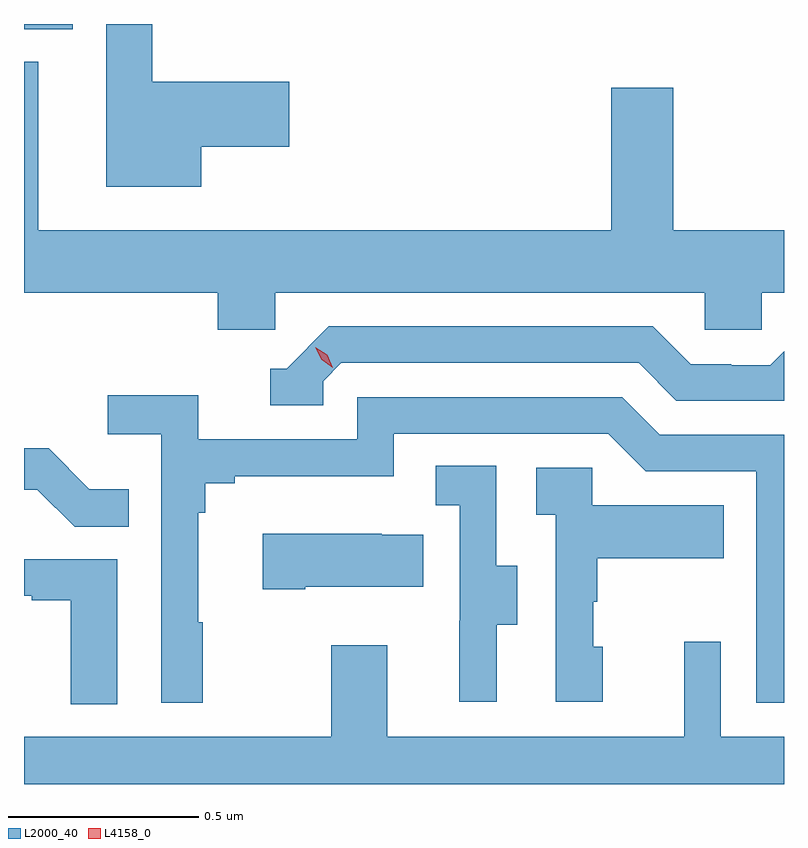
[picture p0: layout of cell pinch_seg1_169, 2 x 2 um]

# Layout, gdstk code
import gdstk
lib = gdstk.Library(unit=1e-6, precision=1e-09)
def R(c, l, rs):  # rectangles x0, y0, x1, y1
    for r in rs: c.add(gdstk.rectangle(r[:2], r[2:], *l))
def P(c, l, *ps):  # polygons
    for p in ps: c.add(gdstk.Polygon(p, *l))
L2000_40 = (2000, 40)
L4158_0 = (4158, 0)

pinch_seg1_169 = lib.new_cell('pinch_seg1_169')
R(pinch_seg1_169, L2000_40, [(1098.527,557.753,1098.655,557.767)])
P(pinch_seg1_169, L2000_40, [(1098.994,557.444),(1099.225,557.444),(1099.225,557.615),(1098.865,557.615),(1098.865,557.767),(1098.743,557.767),(1098.743,557.339),(1098.994,557.339)],
  [(1099.188,557.06),(1100.319,557.06),(1100.319,556.962),(1100.469,556.962),(1100.469,557.06),(1100.527,557.06),(1100.527,557.224),(1100.236,557.224),(1100.236,557.599),(1100.072,557.599),(1100.072,557.224),(1098.565,557.224),(1098.565,557.668),(1098.527,557.668),(1098.527,557.06),(1099.037,557.06),(1099.037,556.962),(1099.188,556.962)],
  [(1099.314,556.827),(1099.362,556.875),(1100.145,556.875),(1100.244,556.776),(1100.527,556.776),(1100.527,556.906),(1100.491,556.869),(1100.388,556.869),(1100.388,556.872),(1100.281,556.872),(1100.182,556.971),(1099.329,556.971),(1099.218,556.86),(1099.175,556.86),(1099.175,556.764),(1099.314,556.764)],
  [(1098.997,556.193),(1098.985,556.193),(1098.985,556.481),(1099.004,556.481),(1099.004,556.558),(1099.081,556.558),(1099.081,556.577),(1099.5,556.577),(1099.5,556.689),(1100.064,556.689),(1100.163,556.59),(1100.454,556.59),(1100.454,555.981),(1100.527,555.981),(1100.527,556.686),(1100.2,556.686),(1100.101,556.785),(1099.404,556.785),(1099.404,556.674),(1098.986,556.674),(1098.986,556.79),(1098.747,556.79),(1098.747,556.688),(1098.888,556.688),(1098.888,555.981),(1098.997,555.981)],
  [(1098.803,556.543),(1098.699,556.543),(1098.592,556.65),(1098.527,556.65),(1098.527,556.542),(1098.562,556.542),(1098.66,556.444),(1098.803,556.444)],
  [(1099.771,556.186),(1099.825,556.186),(1099.825,556.341),(1099.77,556.341),(1099.77,556.604),(1099.611,556.604),(1099.611,556.501),(1099.674,556.501),(1099.674,556.197),(1099.673,556.197),(1099.673,555.984),(1099.771,555.984)],
  [(1100.05,556.128),(1100.025,556.128),(1100.025,556.247),(1100.035,556.247),(1100.035,556.361),(1100.369,556.361),(1100.369,556.501),(1100.022,556.501),(1100.022,556.599),(1099.875,556.599),(1099.875,556.475),(1099.926,556.475),(1099.926,555.984),(1100.05,555.984)],
  [(1099.267,556.286),(1099.577,556.286),(1099.577,556.423),(1099.469,556.423),(1099.469,556.426),(1099.155,556.426),(1099.155,556.279),(1099.267,556.279)],
  [(1098.772,556.359),(1098.527,556.359),(1098.527,556.263),(1098.547,556.263),(1098.547,556.251),(1098.65,556.251),(1098.65,555.977),(1098.772,555.977)],
  [(1100.527,555.892),(1100.361,555.892),(1100.361,556.141),(1100.264,556.141),(1100.264,555.892),(1099.483,555.892),(1099.483,556.132),(1099.336,556.132),(1099.336,555.892),(1098.527,555.892),(1098.527,555.767),(1100.527,555.767)])
P(pinch_seg1_169, L4158_0, [(1099.34,556.863),(1099.31,556.883),(1099.294,556.916),(1099.294,556.916),(1099.294,556.916),(1099.325,556.896),(1099.34,556.863),(1099.34,556.863)])

lib.write_gds('pinch_seg1_169.gds')
